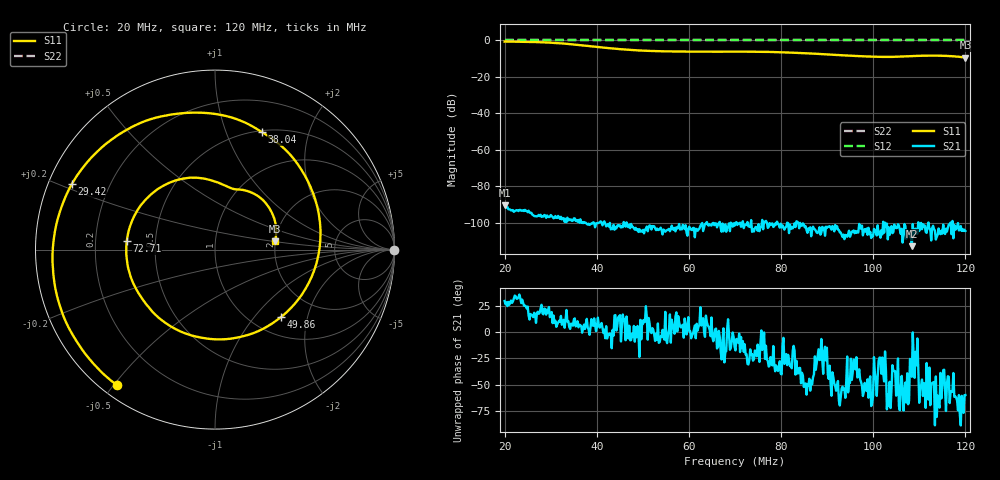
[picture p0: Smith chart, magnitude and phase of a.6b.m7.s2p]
! Anritsu VNA Master:  Model: MS2036C/10/77
! SN:  1601066
! /bd0/18may07/256.ns.m7.s2p
! Existing Calibration Information:
! TYPE:  Current Settings,  Active Cal Settings
! TIME:  05/07/2018 03:17:02 PM,  05/07/2018 03:13:55 PM
! INTERNAL TEMP:  61.0 C,  60.5 C
! # POINTS:  500,  500
! START FREQ:  20.000 MHz,  20.000 MHz
! STOP FREQ:  120.000 MHz,  120.000 MHz
! SOURCE POWER:  High,  High
! IFBW:  50 Hz,  50 Hz
! AVG FACTOR:  1 ,  1
! REF PLANE 1:  0 mm,  0 mm
! REF PLANE 2:  0 mm,  0 mm
! CAL TYPE:  Full S11,  Full S11
! CAL METHOD:  SOLT,  SOLT
! CAL LINE TYPE:  Coax,  Coax
! DUT PORT 1:  K-Conn(F),  K-Conn(F)
! DUT PORT 2:  K-Conn(F),  K-Conn(F)
! CAL STATUS:  OK: Accuracy High,  --
# GHZ S DB R 50.0
! FREQ.GHZ  S11DB  S11A  S21DB  S21A  S12DB  S12A  S22DB  S22A
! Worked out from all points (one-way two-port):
!   500 points, 20 MHz to 120 MHz, reference 50 ohm
!   highest |S21| = -90.56 dB at 20 MHz (marker M1); lowest = -112.9 dB at 108.4 MHz (marker M2)
!   lowest |S11| = -9.4 dB at 120 MHz (marker M3), VSWR 2.02, Z = 99.6 + j10.6 ohm
!   |S11| at or under -10 dB: nowhere
!   |S22| runs from 0.0 to 0.0 dB; largest |S21 - S12| = 1
!   S11 on the Smith chart (normalised r, x): 20 MHz: 0.04, -0.51; 29.42 MHz: 0.07, +0.22; 38.04 MHz: 0.51, +1.34; 49.86 MHz: 1.34, -1.39; 72.71 MHz: 0.34, +0.04; 120 MHz: 1.99, +0.21
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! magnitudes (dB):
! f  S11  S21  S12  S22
! 20 MHz  -0.6  -90.6  0.0  0.0
! 24.81 MHz  -0.7  -93.7  0.0  0.0
! 29.42 MHz  -1.1  -96.8  0.0  0.0
! 33.03 MHz  -1.7  -99.6  0.0  0.0
! 36.83 MHz  -2.6  -99.7  0.0  0.0
! 38.04 MHz  -3.0  -101.1  0.0  0.0
! 44.45 MHz  -4.6  -101.7  0.0  0.0
! 49.86 MHz  -5.6  -104.9  0.0  0.0
! 53.47 MHz  -5.9  -104.1  0.0  0.0
! 63.89 MHz  -6.2  -99.7  0.0  0.0
! 70.1 MHz  -6.1  -100.2  0.0  0.0
! 72.71 MHz  -6.1  -99.7  0.0  0.0
! 78.32 MHz  -6.4  -102.4  0.0  0.0
! 86.73 MHz  -7.2  -104.2  0.0  0.0
! 97.96 MHz  -8.7  -104.7  0.0  0.0
! 101.4 MHz  -9.0  -105.0  0.0  0.0
! 103.4 MHz  -9.0  -102.6  0.0  0.0
! 108.4 MHz  -8.6  -112.9  0.0  0.0
! 111.8 MHz  -8.3  -102.1  0.0  0.0
! 114.8 MHz  -8.4  -104.4  0.0  0.0
! 117.6 MHz  -8.7  -101.3  0.0  0.0
! 120 MHz  -9.4  -104.6  0.0  0.0
